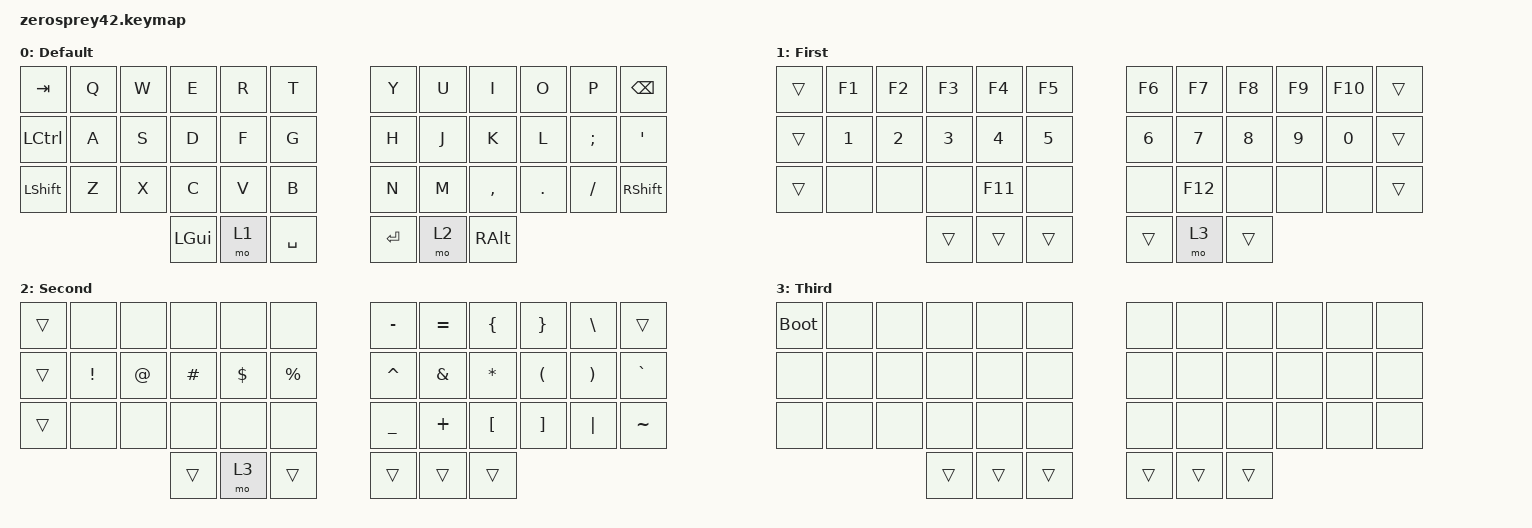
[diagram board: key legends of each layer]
/*
 * Copyright (c) 2020 The ZMK Contributors
 * and (c) 2022 tubbytwins (Matthew A. Schnoor) and beekeeb
 *
 * SPDX-License-Identifier: MIT
 */
 
#include <behaviors.dtsi>
#include <dt-bindings/zmk/keys.h>



#define DEFAULT 0
#define FIRST 1
#define SECOND 2
#define THIRD 3



/ {
        keymap {
                compatible = "zmk,keymap";
		label = "Zerosprey42";
		
                default_layer {
                label = "Default";
                	bindings = <

   &kp TAB    &kp Q  &kp W  &kp E  &kp R  &kp T           &kp Y   &kp U  &kp I     &kp O    &kp P     &kp BSPC
   &kp LCTRL  &kp A  &kp S  &kp D  &kp F  &kp G           &kp H   &kp J  &kp K     &kp L    &kp SEMI  &kp SQT
   &kp LSHFT  &kp Z  &kp X  &kp C  &kp V  &kp B           &kp N   &kp M  &kp COMMA &kp DOT  &kp SLASH &kp RSHFT
                         &kp LGUI  &mo 1  &kp SPACE       &kp RET &mo 2  &kp RALT
                        >;
                };

                first_layer {
                label = "First";
                	bindings = <
   &trans     &kp F1  &kp F2  &kp F3  &kp F4  &kp F5      &kp F6  &kp F7  &kp F8  &kp F9  &kp F10  &trans
   &trans     &kp N1  &kp N2  &kp N3  &kp N4  &kp N5      &kp N6  &kp N7  &kp N8  &kp N9  &kp N0   &trans
   &trans     &none   &none   &none   &kp F11 &none       &none   &kp F12 &none   &none   &none    &trans            	
                              &trans  &trans  &trans      &trans  &mo 3   &trans
                        >;
                };
                
                second_layer {
                label = "Second";
                	bindings = <
   &trans     &none    &none  &none    &none    &none         &kp MINUS &kp EQUAL &kp LBRC &kp RBRC &kp BSLH &trans
   &trans     &kp EXCL &kp AT &kp HASH &kp DLLR &kp PRCNT     &kp CARET &kp AMPS  &kp STAR &kp LPAR &kp RPAR &kp GRAVE
   &trans     &none    &none  &none    &none    &none         &kp UNDER &kp PLUS  &kp LBKT &kp RBKT &kp PIPE &kp TILDE
                              &trans   &mo 3    &trans        &trans    &trans    &trans
                	>;
                
                };

                third_layer {
                label = "Third";
                	bindings = <
   &bootloader  &none  &none  &none  &none  &none     &none  &none  &none  &none  &none  &none
   &none        &none  &none  &none  &none  &none     &none  &none  &none  &none  &none  &none
   &none        &none  &none  &none  &none  &none     &none  &none  &none  &none  &none  &none
                              &trans &trans &trans    &trans &trans &trans
                           >;
                };

        };
};



